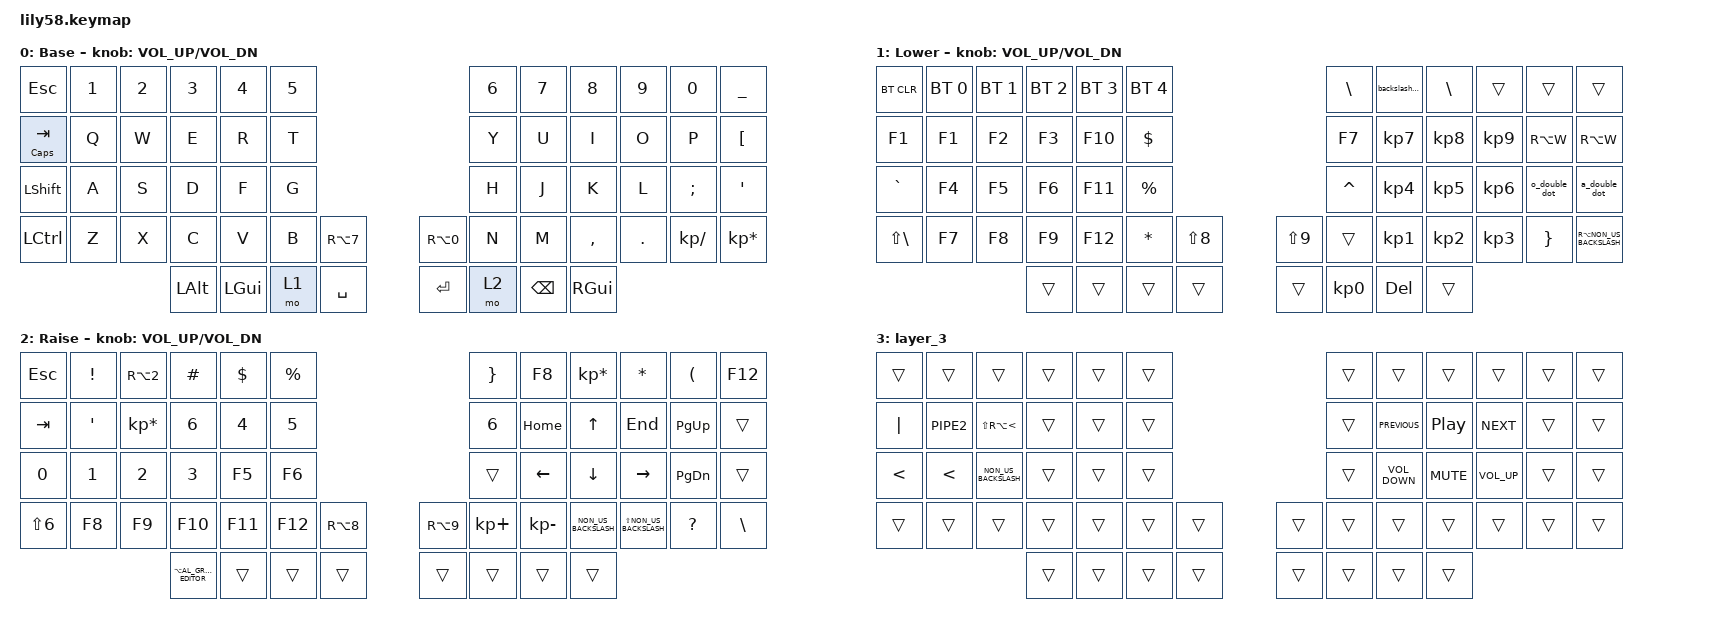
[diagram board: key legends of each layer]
/*
 * Copyright (c) 2020 The ZMK Contributors
 *
 * SPDX-License-Identifier: MIT
 */

#include <behaviors.dtsi>
#include <dt-bindings/zmk/bt.h>
#include <dt-bindings/zmk/keys.h>

/ {
    combos {
        compatible = "zmk,combos";

        mo_comb {
            bindings = <&mo 3>;
            key-positions = <52 55>;
        };
    };

    macros {
        a_double_dot: a_double_dot {
            compatible = "zmk,behavior-macro";
            #binding-cells = <0>;
            bindings = <&kp DOUBLE_QUOTES &kp A>;
            label = "A_DOUBLE_DOT";
        };

        o_double_dot: o_double_dot {
            compatible = "zmk,behavior-macro";
            #binding-cells = <0>;
            bindings = <&kp DOUBLE_QUOTES &kp O>;
            label = "O_DOUBLE_DOT";
        };

        new_macro: new_macro {
            compatible = "zmk,behavior-macro";
            #binding-cells = <0>;
            bindings = <&none>;
            label = "NEW_MACRO";
        };

        backslashuni: backslashuni {
            compatible = "zmk,behavior-macro";
            #binding-cells = <0>;
            bindings = <&kp BSLH>;
            label = "BACKSLASHUNI";
        };
    };

    behaviors {
        taphold: taphold {
            compatible = "zmk,behavior-hold-tap";
            label = "TAPHOLD";
            bindings = <&kp>, <&kp>;

            #binding-cells = <2>;
            tapping-term-ms = <50>;
            hold-while-undecided;
        };
    };

    keymap {
        compatible = "zmk,keymap";

        default_layer {
            // ------------------------------------------------------------------------------------------------------------
            // |  ESC  |  1  |  2  |  3   |  4   |  5   |                   |  6   |  7    |  8    |  9   |   0   |   `   |
            // |  TAB  |  Q  |  W  |  E   |  R   |  T   |                   |  Y   |  U    |  I    |  O   |   P   |   -   |
            // |  CTRL |  A  |  S  |  D   |  F   |  G   |                   |  H   |  J    |  K    |  L   |   ;   |   '   |
            // | SHIFT |  Z  |  X  |  C   |  V   |  B   |   "["  |  |  "]"  |  N   |  M    |  ,    |  .   |   /   | SHIFT |
            //                     | ALT  | GUI  | LOWER|  SPACE |  | ENTER | RAISE| BSPC  | GUI   |

            display-name = "Base";
            bindings = <
&kp ESC           &kp N1  &kp N2  &kp N3        &kp N4    &kp N5                                        &kp N6  &kp N7    &kp N8     &kp N9   &kp N0        &kp UNDER
&mt CAPSLOCK TAB  &kp Q   &kp W   &kp E         &kp R     &kp T                                         &kp Y   &kp U     &kp I      &kp O    &kp P         &kp LEFT_BRACKET
&kp LEFT_SHIFT    &kp A   &kp S   &kp D         &kp F     &kp G                                         &kp H   &kp J     &kp K      &kp L    &kp SEMI      &kp SQT
&kp LCTRL         &kp Z   &kp X   &kp C         &kp V     &kp B   &kp RA(NUMBER_7)    &kp RA(NUMBER_0)  &kp N   &kp M     &kp COMMA  &kp DOT  &kp KP_SLASH  &kp KP_ASTERISK
                                  &kp LEFT_ALT  &kp LGUI  &mo 1   &kp SPACE           &kp RET           &mo 2   &kp BSPC  &kp RGUI
            >;

            sensor-bindings = <&inc_dec_kp C_VOL_UP C_VOL_DN>;
        };

        lower_layer {
            // ------------------------------------------------------------------------------------------------------------
            // | BTCLR | BT1 | BT2 |  BT3 |  BT4 |  BT5 |                   |      |       |       |      |       |       |
            // |  F1   |  F2 |  F3 |  F4  |  F5  |  F6  |                   |  F7  |  F8   |  F9   |  F10 |  F11  |  F12  |
            // |   `   |  !  |  @  |  #   |  $   |  %   |                   |  ^   |  &    |  *    |  (   |   )   |   ~   |
            // |       |     |     |      |      |      |        |  |       |      |  _    |  +    |  {   |   }   |  "|"  |
            //                     |      |      |      |        |  |       |      |       |       |

            display-name = "Lower";
            bindings = <
&bt BT_CLR    &bt BT_SEL 0  &bt BT_SEL 1  &bt BT_SEL 2  &bt BT_SEL 3  &bt BT_SEL 4                                  &kp BACKSLASH    &backslashuni    &kp BSLH         &trans           &trans         &trans
&kp F1        &kp F1        &kp F2        &kp F3        &kp F10       &kp DOLLAR                                    &kp F7           &kp KP_NUMBER_7  &kp KP_NUMBER_8  &kp KP_NUMBER_9  &kp RA(W)      &kp RA(W)
&kp GRAVE     &kp F4        &kp F5        &kp F6        &kp F11       &kp PRCNT                                     &kp CARET        &kp KP_NUMBER_4  &kp KP_NUMBER_5  &kp KP_NUMBER_6  &o_double_dot  &a_double_dot
&kp LS(BSLH)  &kp F7        &kp F8        &kp F9        &kp F12       &kp ASTERISK  &kp LS(N8)    &kp LS(NUMBER_9)  &trans           &kp KP_NUMBER_1  &kp KP_NUMBER_2  &kp KP_NUMBER_3  &kp RBRC       &kp RA(NON_US_BACKSLASH)
                                          &trans        &trans        &trans        &trans        &trans            &kp KP_NUMBER_0  &kp DEL          &trans
            >;

            sensor-bindings = <&inc_dec_kp C_VOL_UP C_VOL_DN>;
        };

        raise_layer {
            // ------------------------------------------------------------------------------------------------------------
            // |       |     |     |      |      |      |                   |      |       |       |      |       |       |
            // |   `   |  1  |  2  |  3   |  4   |  5   |                   |  6   |   7   |   8   |  9   |   0   |       |
            // |   F1  |  F2 |  F3 |  F4  |  F5  |  F6  |                   |      |   <-  |   v   |  ^   |  ->   |       |
            // |   F7  |  F8 |  F9 |  F10 |  F11 |  F12 |        |  |       |  +   |   -   |   =   |  [   |   ]   |   \   |
            //                     |      |      |      |        |  |       |      |       |       |

            display-name = "Raise";
            bindings = <
&kp ESC           &kp EXCL      &kp RA(NUMBER_2)  &kp HASH                      &kp DOLLAR  &kp PERCENT                                        &kp RBRC     &kp F8           &kp KP_MULTIPLY       &kp ASTERISK              &kp LEFT_PARENTHESIS  &kp F12
&kp TAB           &kp SQT       &kp KP_ASTERISK   &kp NUMBER_6                  &kp N4      &kp N5                                             &kp N6       &kp HOME         &kp UP_ARROW          &kp END                   &kp PG_UP             &trans
&kp NUMBER_0      &kp NUMBER_1  &kp NUMBER_2      &kp NUMBER_3                  &kp F5      &kp F6                                             &trans       &kp LEFT         &kp DOWN              &kp RIGHT_ARROW           &kp PG_DN             &trans
&kp LS(NUMBER_6)  &kp F8        &kp F9            &kp F10                       &kp F11     &kp F12      &kp RA(NUMBER_8)    &kp RA(NUMBER_9)  &kp KP_PLUS  &kp KP_SUBTRACT  &kp NON_US_BACKSLASH  &kp LS(NON_US_BACKSLASH)  &kp QMARK             &kp BSLH
                                                  &kp LA(C_AL_GRAPHICS_EDITOR)  &trans      &trans       &trans              &trans            &trans       &trans           &trans
            >;

            sensor-bindings = <&inc_dec_kp C_VOL_UP C_VOL_DN>;
        };

        layer_3 {
            bindings = <
&trans         &trans     &trans                 &trans  &trans  &trans                    &trans  &trans             &trans            &trans           &trans  &trans
&kp PIPE       &kp PIPE2  &kp LS(RA(LESS_THAN))  &trans  &trans  &trans                    &trans  &kp C_PREVIOUS     &kp C_PLAY_PAUSE  &kp C_NEXT       &trans  &trans
&kp LESS_THAN  &kp LT     &kp NON_US_BACKSLASH   &trans  &trans  &trans                    &trans  &kp C_VOLUME_DOWN  &kp C_MUTE        &kp C_VOLUME_UP  &trans  &trans
&trans         &trans     &trans                 &trans  &trans  &trans  &trans    &trans  &trans  &trans             &trans            &trans           &trans  &trans
                                                 &trans  &trans  &trans  &trans    &trans  &trans  &trans             &trans
            >;
        };
    };
};
